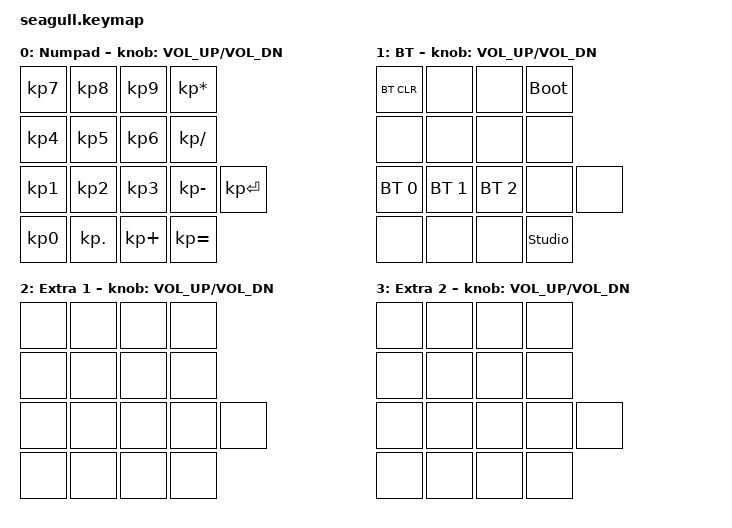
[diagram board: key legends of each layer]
#include <behaviors.dtsi>
#include <dt-bindings/zmk/keys.h>
#include <dt-bindings/zmk/bt.h>

#define NUMPAD    0
#define BLUETOOTH 1
#define EXTRA1    2
#define EXTRA2    3

/ {
    combos {
        compatible = "zmk,combos";

        combo_layer0 {
            timeout-ms = <500>;
            key-positions = <12 0>;
            bindings = <&to 0>;
        };

        combo_layer1 {
            timeout-ms = <500>;
            key-positions = <12 1>;
            bindings = <&to 1>;
        };

        combo_layer2 {
            timeout-ms = <500>;
            key-positions = <12 2>;
            bindings = <&to 2>;
        };

        combo_layer3 {
            timeout-ms = <500>;
            key-positions = <12 3>;
            bindings = <&to 3>;
        };
    };

    keymap {
        compatible = "zmk,keymap";

        layer_numpad {
            display-name = "Numpad";
            bindings = <
                &kp KP_N7    &kp KP_N8    &kp KP_N9    &kp KP_MULTIPLY
                &kp KP_N4    &kp KP_N5    &kp KP_N6    &kp KP_DIVIDE
                &kp KP_N1    &kp KP_N2    &kp KP_N3    &kp KP_MINUS    &kp KP_ENTER
                &kp KP_N0    &kp KP_DOT   &kp KP_PLUS  &kp KP_EQUAL
            >;
            sensor-bindings = <&inc_dec_kp C_VOL_UP C_VOL_DN>;
        };

        layer_bluetooth {
            display-name = "BT";
            bindings = <
                &bt BT_CLR      &none           &none           &bootloader
                &none           &none           &none           &none
                &bt BT_SEL 0    &bt BT_SEL 1    &bt BT_SEL 2    &none           &none
                &none           &none           &none           &studio_unlock
            >;
            sensor-bindings = <&inc_dec_kp C_VOL_UP C_VOL_DN>;
        };

        extra1 {
            display-name = "Extra 1";
            bindings = <
                &none    &none    &none    &none
                &none    &none    &none    &none
                &none    &none    &none    &none    &none
                &none    &none    &none    &none
            >;
            sensor-bindings = <&inc_dec_kp C_VOL_UP C_VOL_DN>;
        };

        extra2 {
            display-name = "Extra 2";
            bindings = <
                &none    &none    &none    &none
                &none    &none    &none    &none
                &none    &none    &none    &none    &none
                &none    &none    &none    &none
            >;
            sensor-bindings = <&inc_dec_kp C_VOL_UP C_VOL_DN>;
        };
    };
};
